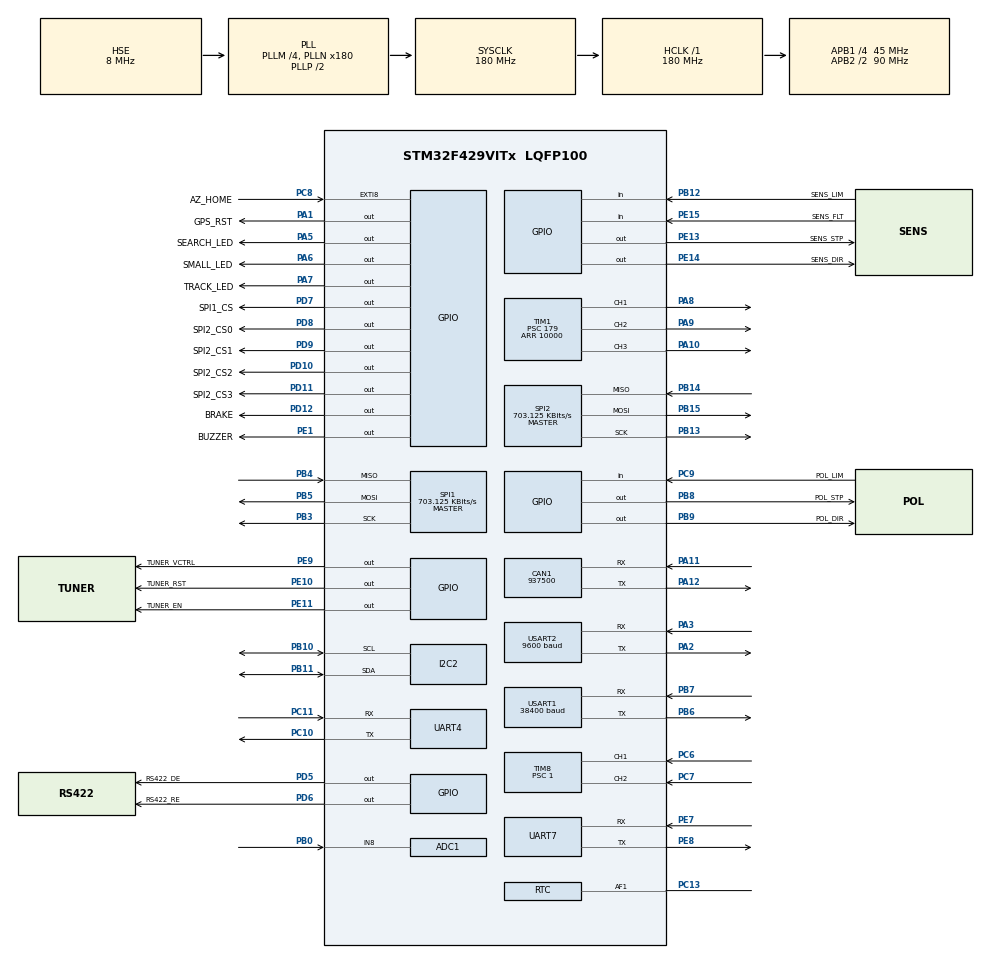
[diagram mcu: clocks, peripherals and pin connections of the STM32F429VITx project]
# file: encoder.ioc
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ADC1.Channel-0\#ChannelRegularConversion=ADC_CHANNEL_8
ADC1.NbrOfConversion=1
ADC1.NbrOfConversionFlag=1
ADC1.Rank-0\#ChannelRegularConversion=1
ADC1.SamplingTime-0\#ChannelRegularConversion=ADC_SAMPLETIME_3CYCLES
ADC1.ScanConvMode=DISABLE
ADC1.master=1
CAN1.CalculateBaudRate=937500
CAN1.CalculateTimeBit=1066
CAN1.CalculateTimeQuantum=355.55555555555554
Dma.Request0=USART1_TX
Dma.Request1=UART4_RX
Dma.Request2=UART7_RX
Dma.UART4_RX.1.Direction=DMA_PERIPH_TO_MEMORY
Dma.UART4_RX.1.FIFOMode=DMA_FIFOMODE_DISABLE
Dma.UART4_RX.1.Instance=DMA1_Stream2
Dma.UART4_RX.1.MemDataAlignment=DMA_MDATAALIGN_BYTE
Dma.UART4_RX.1.MemInc=DMA_MINC_ENABLE
Dma.UART4_RX.1.Mode=DMA_NORMAL
Dma.UART4_RX.1.PeriphDataAlignment=DMA_PDATAALIGN_BYTE
Dma.UART4_RX.1.PeriphInc=DMA_PINC_DISABLE
Dma.UART4_RX.1.Priority=DMA_PRIORITY_LOW
Dma.UART7_RX.2.Direction=DMA_PERIPH_TO_MEMORY
Dma.UART7_RX.2.FIFOMode=DMA_FIFOMODE_DISABLE
Dma.UART7_RX.2.Instance=DMA1_Stream3
Dma.UART7_RX.2.MemDataAlignment=DMA_MDATAALIGN_BYTE
Dma.UART7_RX.2.MemInc=DMA_MINC_ENABLE
Dma.UART7_RX.2.Mode=DMA_NORMAL
Dma.UART7_RX.2.PeriphDataAlignment=DMA_PDATAALIGN_BYTE
Dma.UART7_RX.2.PeriphInc=DMA_PINC_DISABLE
Dma.UART7_RX.2.Priority=DMA_PRIORITY_LOW
Dma.USART1_TX.0.Direction=DMA_MEMORY_TO_PERIPH
Dma.USART1_TX.0.FIFOMode=DMA_FIFOMODE_DISABLE
Dma.USART1_TX.0.Instance=DMA2_Stream7
Dma.USART1_TX.0.MemDataAlignment=DMA_MDATAALIGN_BYTE
Dma.USART1_TX.0.MemInc=DMA_MINC_ENABLE
Dma.USART1_TX.0.Mode=DMA_NORMAL
Dma.USART1_TX.0.PeriphDataAlignment=DMA_PDATAALIGN_BYTE
Dma.USART1_TX.0.PeriphInc=DMA_PINC_DISABLE
Dma.USART1_TX.0.Priority=DMA_PRIORITY_VERY_HIGH
Mcu.Family=STM32F4
Mcu.Name=STM32F429VITx
Mcu.Package=LQFP100
NVIC.DMA1_Stream2_IRQn=true\:0\:0\:true\:false\:true\:false\:true\:true
NVIC.DMA1_Stream3_IRQn=true\:0\:0\:true\:false\:true\:false\:true\:true
NVIC.DMA2_Stream7_IRQn=true\:0\:0\:false\:false\:true\:false\:true\:true
NVIC.PriorityGroup=NVIC_PRIORITYGROUP_4
NVIC.TIM1_BRK_TIM9_IRQn=true\:0\:0\:false\:false\:true\:true\:true\:true
NVIC.TIM2_IRQn=true\:1\:0\:true\:false\:true\:true\:true\:true
NVIC.TIM4_IRQn=true\:3\:0\:true\:false\:true\:true\:true\:true
NVIC.TIM6_DAC_IRQn=true\:0\:0\:false\:false\:true\:true\:true\:true
NVIC.TIM7_IRQn=true\:0\:0\:false\:false\:true\:true\:true\:true
NVIC.USART1_IRQn=true\:0\:0\:false\:false\:true\:true\:true\:true
NVIC.USART2_IRQn=true\:3\:0\:true\:false\:true\:true\:true\:true
PA1.GPIO_Label=GPS_RST
PA1.PinState=GPIO_PIN_SET
PA1.Signal=GPIO_Output
PA10.Signal=S_TIM1_CH3
PA11.Mode=CAN_Activate
PA11.Signal=CAN1_RX
PA12.Mode=CAN_Activate
PA12.Signal=CAN1_TX
PA13.Mode=Serial_Wire
PA13.Signal=SYS_JTMS-SWDIO
PA14.Mode=Serial_Wire
PA14.Signal=SYS_JTCK-SWCLK
PA2.Mode=Asynchronous
PA2.Signal=USART2_TX
PA3.Mode=Asynchronous
PA3.Signal=USART2_RX
PA5.GPIO_Label=SEARCH_LED
PA5.Signal=GPIO_Output
PA6.GPIO_Label=SMALL_LED
PA6.Signal=GPIO_Output
PA7.GPIO_Label=TRACK_LED
PA7.Signal=GPIO_Output
PA8.Signal=S_TIM1_CH1
PA9.Signal=S_TIM1_CH2
PB0.Signal=ADCx_IN8
PB10.Mode=I2C
PB10.Signal=I2C2_SCL
PB11.Mode=I2C
PB11.Signal=I2C2_SDA
PB12.GPIO_Label=SENS_LIM
PB12.GPIO_PuPd=GPIO_PULLUP
PB12.Signal=GPIO_Input
PB13.Mode=Full_Duplex_Master
PB13.Signal=SPI2_SCK
PB14.GPIO_PuPd=GPIO_PULLUP
PB14.Mode=Full_Duplex_Master
PB14.Signal=SPI2_MISO
PB15.Mode=Full_Duplex_Master
PB15.Signal=SPI2_MOSI
PB3.Mode=Full_Duplex_Master
PB3.Signal=SPI1_SCK
PB4.Mode=Full_Duplex_Master
PB4.Signal=SPI1_MISO
PB5.Mode=Full_Duplex_Master
PB5.Signal=SPI1_MOSI
PB6.Mode=Asynchronous
PB6.Signal=USART1_TX
PB7.Mode=Asynchronous
PB7.Signal=USART1_RX
PB8.GPIO_Label=POL_STP
PB8.Signal=GPIO_Output
PB9.GPIO_Label=POL_DIR
PB9.Signal=GPIO_Output
PC1.Signal=ADCx_IN11
PC10.Mode=Asynchronous
PC10.Signal=UART4_TX
PC11.Mode=Asynchronous
PC11.Signal=UART4_RX
PC13.Mode=Tamper 1 enabled - Input Enabled to AF1
PC13.Signal=RTC_AF1
PC6.Signal=S_TIM8_CH1
PC7.Signal=S_TIM8_CH2
PC8.GPIO_Label=AZ_HOME
PC8.GPIO_ModeDefaultEXTI=GPIO_MODE_IT_FALLING
PC8.GPIO_PuPd=GPIO_PULLUP
PC8.Signal=GPXTI8
PC9.GPIO_Label=POL_LIM
PC9.GPIO_PuPd=GPIO_PULLUP
PC9.Signal=GPIO_Input
PD10.GPIO_Label=SPI2_CS2
PD10.Signal=GPIO_Output
PD11.GPIO_Label=SPI2_CS3
PD11.Signal=GPIO_Output
PD12.GPIO_Label=BRAKE
PD12.Signal=GPIO_Output
PD5.GPIO_Label=RS422_DE
PD5.Signal=GPIO_Output
PD6.GPIO_Label=RS422_RE
PD6.Signal=GPIO_Output
PD7.GPIO_Label=SPI1_CS
PD7.Signal=GPIO_Output
PD8.GPIO_Label=SPI2_CS0
PD8.Signal=GPIO_Output
PD9.GPIO_Label=SPI2_CS1
PD9.Signal=GPIO_Output
PE1.GPIO_Label=BUZZER
PE1.Signal=GPIO_Output
PE10.GPIO_Label=TUNER_RST
PE10.PinState=GPIO_PIN_SET
PE10.Signal=GPIO_Output
PE11.GPIO_Label=TUNER_EN
PE11.Signal=GPIO_Output
PE13.GPIO_Label=SENS_STP
PE13.Signal=GPIO_Output
PE14.GPIO_Label=SENS_DIR
PE14.Signal=GPIO_Output
PE15.GPIO_Label=SENS_FLT
PE15.Signal=GPIO_Input
PE7.Mode=Asynchronous
PE7.Signal=UART7_RX
PE8.Mode=Asynchronous
PE8.Signal=UART7_TX
PE9.GPIO_Label=TUNER_VCTRL
PE9.Signal=GPIO_Output
PH0/OSC_IN.Mode=HSE-External-Oscillator
PH0/OSC_IN.Signal=RCC_OSC_IN
PH1/OSC_OUT.Mode=HSE-External-Oscillator
PH1/OSC_OUT.Signal=RCC_OSC_OUT
ProjectManager.HeapSize=0x200
ProjectManager.StackSize=0x400
ProjectManager.TargetToolchain=STM32CubeIDE
RCC.48MHZClocksFreq_Value=90000000
RCC.AHBFreq_Value=180000000
RCC.APB1CLKDivider=RCC_HCLK_DIV4
RCC.APB1Freq_Value=45000000
RCC.APB1TimFreq_Value=90000000
RCC.APB2CLKDivider=RCC_HCLK_DIV2
RCC.APB2Freq_Value=90000000
RCC.APB2TimFreq_Value=180000000
RCC.CortexFreq_Value=180000000
RCC.HCLKFreq_Value=180000000
RCC.HSE_VALUE=8000000
RCC.HSI_VALUE=16000000
RCC.LSE_VALUE=32768
RCC.PLLM=4
RCC.PLLN=180
RCC.PLLSourceVirtual=RCC_PLLSOURCE_HSE
RCC.SYSCLKFreq_VALUE=180000000
RCC.SYSCLKSource=RCC_SYSCLKSOURCE_PLLCLK
RCC.VCOOutputFreq_Value=360000000
RTC.Filter=RTC_TAMPERFILTER_8SAMPLE
RTC.PinSelection_1=RTC_TAMPERPIN_DEFAULT
SH.ADCx_IN11.0=ADC1_IN11
SH.ADCx_IN8.0=ADC1_IN8,IN8
SH.S_TIM1_CH1.0=TIM1_CH1,PWM Generation1 CH1
SH.S_TIM1_CH2.0=TIM1_CH2,PWM Generation2 CH2
SH.S_TIM1_CH3.0=TIM1_CH3,PWM Generation3 CH3
SH.S_TIM8_CH1.0=TIM8_CH1,Encoder_Interface
SH.S_TIM8_CH2.0=TIM8_CH2,Encoder_Interface
SPI1.BaudRatePrescaler=SPI_BAUDRATEPRESCALER_128
SPI1.CalculateBaudRate=703.125 KBits/s
SPI1.Direction=SPI_DIRECTION_2LINES
SPI1.Mode=SPI_MODE_MASTER
SPI1.VirtualType=VM_MASTER
SPI2.BaudRatePrescaler=SPI_BAUDRATEPRESCALER_64
SPI2.CLKPhase=SPI_PHASE_1EDGE
SPI2.CalculateBaudRate=703.125 KBits/s
SPI2.Direction=SPI_DIRECTION_2LINES
SPI2.Mode=SPI_MODE_MASTER
SPI2.VirtualType=VM_MASTER
TIM1.Channel-PWM\ Generation1\ CH1=TIM_CHANNEL_1
TIM1.Channel-PWM\ Generation2\ CH2=TIM_CHANNEL_2
TIM1.Channel-PWM\ Generation3\ CH3=TIM_CHANNEL_3
TIM1.Period=10000
TIM1.Prescaler=179
TIM1.Pulse-PWM\ Generation1\ CH1=5000
TIM1.Pulse-PWM\ Generation2\ CH2=5000
TIM1.Pulse-PWM\ Generation3\ CH3=5000
TIM2.CounterMode=TIM_COUNTERMODE_CENTERALIGNED3
TIM2.Period=100
TIM2.Prescaler=899
TIM4.Period=5000
TIM4.Prescaler=2249
TIM8.AutoReloadPreload=TIM_AUTORELOAD_PRELOAD_ENABLE
TIM8.CounterMode=TIM_COUNTERMODE_DOWN
TIM8.IC1Filter=5
TIM8.IC2Filter=5
TIM8.Period=65535
TIM8.Prescaler=1
TIM9.Period=999
TIM9.Prescaler=89
UART4.VirtualMode=Asynchronous
UART7.VirtualMode=Asynchronous
USART1.BaudRate=38400
USART1.VirtualMode=VM_ASYNC
USART2.BaudRate=9600
USART2.VirtualMode=VM_ASYNC
VP_RTC_VS_RTC_Activate.Mode=RTC_Enabled
VP_TIM1_VS_ClockSourceINT.Mode=Internal
VP_TIM2_VS_ClockSourceINT.Mode=Internal
VP_TIM4_VS_ClockSourceINT.Mode=Internal
VP_TIM6_VS_ClockSourceINT.Mode=Enable_Timer
VP_TIM7_VS_ClockSourceINT.Mode=Enable_Timer
VP_TIM9_VS_ClockSourceINT.Mode=Internal
board=custom

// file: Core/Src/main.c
/* USER CODE BEGIN Header */
/**
  ******************************************************************************
  * @file           : main.c
  * @brief          : Main program body
  ******************************************************************************
  * @attention
  *
  * Copyright (c) 2025 STMicroelectronics.
  * All rights reserved.
  *
  * This software is licensed under terms that can be found in the LICENSE file
  * in the root directory of this software component.
  * If no LICENSE file comes with this software, it is provided AS-IS.
  *
  ******************************************************************************
  */
/* USER CODE END Header */
#include "main.h"
#include "adc.h"
#include "can.h"
#include "dma.h"
#include "i2c.h"
#include "rtc.h"
#include "spi.h"
#include "tim.h"
#include "usart.h"
#include "gpio.h"

/* USER CODE BEGIN PV */
uint8_t pinState = 0;
uint32_t counterValue_A = 0;
uint32_t counterValue_B = 0;
int32_t counterValue_C = 0;
int8_t direction = 0;
int32_t  degree = 0;
uint32_t timerCnt8 = 0;
/* USER CODE END PV */

void SystemClock_Config(void);

int main(void)
{

  /* MCU Configuration--------------------------------------------------------*/

  /* Reset of all peripherals, Initializes the Flash interface and the Systick. */
  HAL_Init();

  /* Configure the system clock */
  SystemClock_Config();

  /* Initialize all configured peripherals */
  MX_GPIO_Init();
  MX_DMA_Init();
  MX_TIM1_Init();
  MX_TIM2_Init();
  MX_TIM4_Init();
  MX_USART2_UART_Init();
  MX_SPI1_Init();
  MX_USART1_UART_Init();
  MX_ADC1_Init();
  MX_UART4_Init();
  MX_I2C2_Init();
  MX_RTC_Init();
  MX_SPI2_Init();
  MX_UART7_Init();
  MX_TIM8_Init();
  MX_CAN1_Init();
  MX_TIM6_Init();
  MX_TIM7_Init();
  MX_TIM9_Init();
  /* USER CODE BEGIN 2 */
  HAL_TIM_Encoder_Start(&htim8, TIM_CHANNEL_ALL);

  HAL_TIM_Base_Start_IT(&htim9);

  counterValue_A = 0;
  TIM8->CNT = 0;
  counterValue_A = TIM8->CNT;
  timerCnt8 = TIM8->CNT;
  uint32_t halfCnt = 65536/ 2 - 1;
  /* USER CODE END 2 */

  /* Infinite loop */
  /* USER CODE BEGIN WHILE */
  while (1)
  {

		 degree = ((TIM8->CNT - counterValue_A)*0.0453);

    /* USER CODE END WHILE */

  }
}

void SystemClock_Config(void)
{
  RCC_OscInitTypeDef RCC_OscInitStruct = {0};
  RCC_ClkInitTypeDef RCC_ClkInitStruct = {0};

  /** Configure the main internal regulator output voltage
  */
  __HAL_RCC_PWR_CLK_ENABLE();
  __HAL_PWR_VOLTAGESCALING_CONFIG(PWR_REGULATOR_VOLTAGE_SCALE1);

  /** Initializes the RCC Oscillators according to the specified parameters
  * in the RCC_OscInitTypeDef structure.
  */
  RCC_OscInitStruct.OscillatorType = RCC_OSCILLATORTYPE_LSI|RCC_OSCILLATORTYPE_HSE;
  RCC_OscInitStruct.HSEState = RCC_HSE_ON;
  RCC_OscInitStruct.LSIState = RCC_LSI_ON;
  RCC_OscInitStruct.PLL.PLLState = RCC_PLL_ON;
  RCC_OscInitStruct.PLL.PLLSource = RCC_PLLSOURCE_HSE;
  RCC_OscInitStruct.PLL.PLLM = 4;
  RCC_OscInitStruct.PLL.PLLN = 180;
  RCC_OscInitStruct.PLL.PLLP = RCC_PLLP_DIV2;
  RCC_OscInitStruct.PLL.PLLQ = 4;
  if (HAL_RCC_OscConfig(&RCC_OscInitStruct) != HAL_OK)
  {
    Error_Handler();
  }

  /** Activate the Over-Drive mode
  */
  if (HAL_PWREx_EnableOverDrive() != HAL_OK)
  {
    Error_Handler();
  }

  /** Initializes the CPU, AHB and APB buses clocks
  */
  RCC_ClkInitStruct.ClockType = RCC_CLOCKTYPE_HCLK|RCC_CLOCKTYPE_SYSCLK
                              |RCC_CLOCKTYPE_PCLK1|RCC_CLOCKTYPE_PCLK2;
  RCC_ClkInitStruct.SYSCLKSource = RCC_SYSCLKSOURCE_PLLCLK;
  RCC_ClkInitStruct.AHBCLKDivider = RCC_SYSCLK_DIV1;
  RCC_ClkInitStruct.APB1CLKDivider = RCC_HCLK_DIV4;
  RCC_ClkInitStruct.APB2CLKDivider = RCC_HCLK_DIV2;

  if (HAL_RCC_ClockConfig(&RCC_ClkInitStruct, FLASH_LATENCY_5) != HAL_OK)
  {
    Error_Handler();
  }
}

/* USER CODE BEGIN 4 */
uint32_t counterTimer = 0;
uint8_t flag = 0;
void HAL_TIM_PeriodElapsedCallback(TIM_HandleTypeDef *htim)
{
	if(htim->Instance == TIM9)
	{
		if(flag)
		{
			flag = 0;
			if(counterValue_B > TIM8->CNT)
			{
				direction = -1;
			}
			else
			{
				direction = 1;
			}

			counterValue_B = TIM8->CNT;
		}
		if(TIM8->CNT == timerCnt8)
		{
			counterTimer++;
		}
		else
		{
			counterTimer = 0;
		}
		if(counterTimer >= 50)
		{
			counterTimer = 0;
			flag = 1;
		}

		timerCnt8 = TIM8->CNT  ;
	}
}

void HAL_GPIO_EXTI_Callback(uint16_t pin) {
	switch(pin)
	{
		case AZ_HOME_Pin:
			if(HAL_GPIO_ReadPin(AZ_HOME_GPIO_Port, AZ_HOME_Pin) == 0)
			{

			}
			break;
	}
}
/* USER CODE END 4 */

void Error_Handler(void)
{
  __disable_irq();
  while (1)
  {
  }
}
